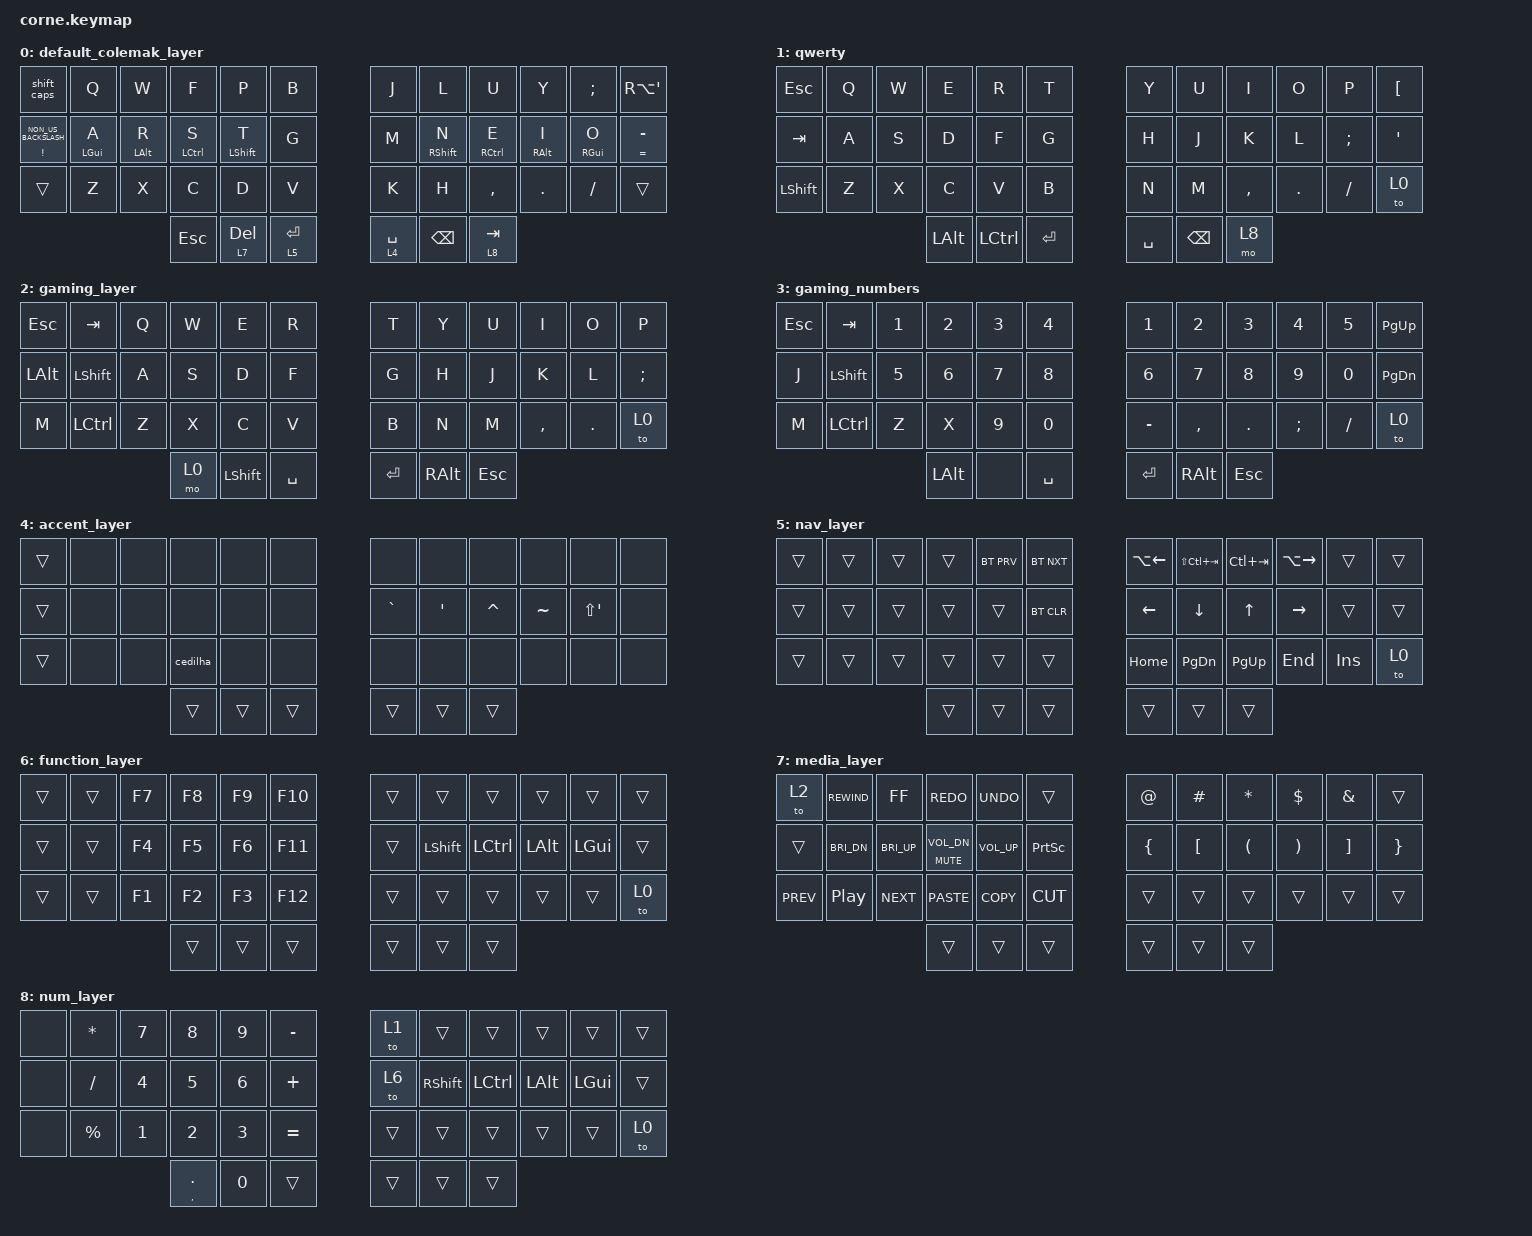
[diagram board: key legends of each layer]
/*
 * Copyright (c) 2020 The ZMK Contributors
 *
 * SPDX-License-Identifier: MIT
 */

#include "keys_br.h"
#include <behaviors/num_word.dtsi>
#include <behaviors.dtsi>
#include <dt-bindings/zmk/bt.h>
#include <dt-bindings/zmk/keys.h>

&caps_word { continue-list = <UNDERSCORE BACKSPACE DELETE MINUS>; };

&mt {
    bindings = <&kp>, <&kp>;

    tapping-term-ms = <200>;
};

/ {
    behaviors {
        shift_caps: shift_caps {
            compatible = "zmk,behavior-tap-dance";
            #binding-cells = <0>;
            bindings = <&caps_word>, <&kt CAPSLOCK>;

            tapping-term-ms = <600>;
        };

        hmr: homewrow_mods_right {
            compatible = "zmk,behavior-hold-tap";
            bindings = <&kp>, <&kp>;

            #binding-cells = <2>;
            tapping-term-ms = <225>;
            flavor = "balanced";
            hold-trigger-key-positions = <0 1 2 4 5 12 13 14 15 16 17 24 25 26 27 28 29 36 37 38 3>;
            quick-tap-ms = <150>;
            require-prior-idle-ms = <200>;
            hold-trigger-on-release;
        };

        hml: homewrow_mods_left {
            compatible = "zmk,behavior-hold-tap";
            bindings = <&kp>, <&kp>;

            #binding-cells = <2>;
            tapping-term-ms = <225>;
            flavor = "balanced";
            hold-trigger-key-positions = <6 7 8 9 10 11 18 19 20 21 22 23 30 31 32 33 34 35 39 40 41>;
            quick-tap-ms = <150>;
            require-prior-idle-ms = <175>;
            hold-trigger-on-release;
        };
    };

    combos { compatible = "zmk,combos"; };

    macros {
        cedilha: cedilha {
            compatible = "zmk,behavior-macro";
            #binding-cells = <0>;
            bindings = <&kp RA(COMMA) &kp C>;
            label = "CEDILHA";
        };
    };

    keymap {
        compatible = "zmk,keymap";

        default_colemak_layer {
            bindings = <
&shift_caps                       &kp Q            &kp W            &kp F         &kp P              &kp B          &kp J        &kp L               &kp U         &kp Y             &kp SEMICOLON     &kp RA(SQT)
&mt EXCLAMATION NON_US_BACKSLASH  &hml LEFT_GUI A  &hml LEFT_ALT R  &hml LCTRL S  &hml LEFT_SHIFT T  &kp G          &kp M        &hmr RIGHT_SHIFT N  &hmr RCTRL E  &hmr RIGHT_ALT I  &hmr RIGHT_GUI O  &mt EQUAL MINUS
&trans                            &kp Z            &kp X            &kp C         &kp D              &kp V          &kp K        &kp H               &kp COMMA     &kp PERIOD        &kp SLASH         &trans
                                                                    &kp ESC       &lt 7 DELETE       &lt 5 ENTER    &lt 4 SPACE  &kp BACKSPACE       &lt 8 TAB
            >;
        };

        qwerty {
            bindings = <
&kp ESC    &kp Q  &kp W  &kp E     &kp R      &kp T        &kp Y      &kp U     &kp I      &kp O    &kp P     &kp LBKT
&kp TAB    &kp A  &kp S  &kp D     &kp F      &kp G        &kp H      &kp J     &kp K      &kp L    &kp SEMI  &kp APOS
&kp LSHFT  &kp Z  &kp X  &kp C     &kp V      &kp B        &kp N      &kp M     &kp COMMA  &kp DOT  &kp FSLH  &to 0
                         &kp LALT  &kp LCTRL  &kp ENTER    &kp SPACE  &kp BSPC  &mo 8
            >;
        };

        gaming_layer {
            bindings = <
&kp ESC       &kp TAB    &kp Q  &kp W  &kp E           &kp R        &kp T      &kp Y     &kp U    &kp I      &kp O    &kp P
&kp LEFT_ALT  &kp LSHFT  &kp A  &kp S  &kp D           &kp F        &kp G      &kp H     &kp J    &kp K      &kp L    &kp SEMI
&kp M         &kp LCTRL  &kp Z  &kp X  &kp C           &kp V        &kp B      &kp N     &kp M    &kp COMMA  &kp DOT  &to 0
                                &mo 0  &kp LEFT_SHIFT  &kp SPACE    &kp ENTER  &kp RALT  &kp ESC
            >;
        };

        gaming_numbers {
            bindings = <
&kp ESC  &kp TAB    &kp NUMBER_1  &kp NUMBER_2  &kp NUMBER_3  &kp NUMBER_4    &kp N1     &kp N2     &kp N3      &kp N4         &kp N5     &kp PAGE_UP
&kp J    &kp LSHFT  &kp NUMBER_5  &kp NUMBER_6  &kp N7        &kp NUMBER_8    &kp N6     &kp N7     &kp N8      &kp N9         &kp N0     &kp PAGE_DOWN
&kp M    &kp LCTRL  &kp Z         &kp X         &kp N9        &kp N0          &kp MINUS  &kp COMMA  &kp PERIOD  &kp SEMICOLON  &kp SLASH  &to 0
                                  &kp LALT      &none         &kp SPACE       &kp ENTER  &kp RALT   &kp ESC
            >;
        };

        accent_layer {
            bindings = <
&trans  &none  &none  &none     &none   &none     &none      &none    &none      &none      &none        &none
&trans  &none  &none  &none     &none   &none     &kp GRAVE  &kp SQT  &kp CARET  &kp TILDE  &kp LS(SQT)  &none
&trans  &none  &none  &cedilha  &none   &none     &none      &none    &none      &none      &none        &none
                      &trans    &trans  &trans    &trans     &trans   &trans
            >;
        };

        nav_layer {
            bindings = <
&trans  &trans  &trans  &trans  &bt BT_PRV  &bt BT_NXT    &kp LA(LEFT)  &kp LS(LC(TAB))  &kp LC(TAB)  &kp LA(RIGHT)  &trans      &trans
&trans  &trans  &trans  &trans  &trans      &bt BT_CLR    &kp LEFT      &kp DOWN         &kp UP       &kp RIGHT      &trans      &trans
&trans  &trans  &trans  &trans  &trans      &trans        &kp HOME      &kp PAGE_DOWN    &kp PAGE_UP  &kp END        &kp INSERT  &to 0
                        &trans  &trans      &trans        &trans        &trans           &trans
            >;
        };

        function_layer {
            bindings = <
&trans  &trans  &kp F7  &kp F8  &kp F9  &kp F10    &trans  &trans          &trans     &trans    &trans        &trans
&trans  &trans  &kp F4  &kp F5  &kp F6  &kp F11    &trans  &kp LEFT_SHIFT  &kp LCTRL  &kp LALT  &kp LEFT_GUI  &trans
&trans  &trans  &kp F1  &kp F2  &kp F3  &kp F12    &trans  &trans          &trans     &trans    &trans        &to 0
                        &trans  &trans  &trans     &trans  &trans          &trans
            >;
        };

        media_layer {
            bindings = <
&to 2       &kp C_REWIND      &kp C_FF      &kp K_REDO           &kp K_UNDO    &trans             &kp AT_SIGN     &kp HASH          &kp ASTERISK          &kp DOLLAR             &kp AMPERSAND      &trans
&trans      &kp C_BRI_DN      &kp C_BRI_UP  &mt C_MUTE C_VOL_DN  &kp C_VOL_UP  &kp PRINTSCREEN    &kp LEFT_BRACE  &kp LEFT_BRACKET  &kp LEFT_PARENTHESIS  &kp RIGHT_PARENTHESIS  &kp RIGHT_BRACKET  &kp RIGHT_BRACE
&kp C_PREV  &kp C_PLAY_PAUSE  &kp C_NEXT    &kp K_PASTE          &kp K_COPY    &kp K_CUT          &trans          &trans            &trans                &trans                 &trans             &trans
                                            &trans               &trans        &trans             &trans          &trans            &trans
            >;
        };

        num_layer {
            bindings = <
&none  &kp ASTERISK  &kp N7  &kp N8            &kp N9  &kp MINUS    &to 1   &trans           &trans     &trans    &trans        &trans
&none  &kp SLASH     &kp N4  &kp N5            &kp N6  &kp PLUS     &to 6   &kp RIGHT_SHIFT  &kp LCTRL  &kp LALT  &kp LEFT_GUI  &trans
&none  &kp PERCENT   &kp N1  &kp N2            &kp N3  &kp EQUAL    &trans  &trans           &trans     &trans    &trans        &to 0
                             &mt COMMA PERIOD  &kp N0  &trans       &trans  &trans           &trans
            >;
        };
    };
};
